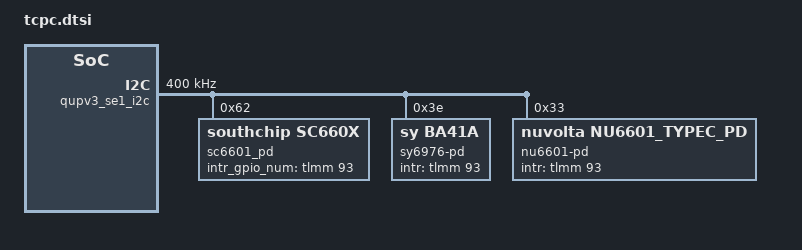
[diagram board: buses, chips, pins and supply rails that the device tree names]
&tlmm {
	/* GPIO_93 : CHG_PD_INT_N */
	rt1711h_int_n: rt1711h_int_n {
		mux {
			pins = "gpio93";
			function = "gpio";
		};
		config {
			pins = "gpio93";
			drive-strength = <2>;
			bias-pull-up;
		};
	};
};

&qupv3_se1_i2c {
	status = "okay";
	clock-frequency = <400000>;

	sc6601_pd: sc6601-pd@62{
		compatible = "southchip,sc660x";
		reg = <0x62>;
		status = "okay";
		sc-tcpc,name = "type_c_port0"; /* tcpc_device's name */
		sc-tcpc,role_def = <5>; /* 0: Unknown, 1: SNK, 2: SRC */
					/* 3: DRP, 4: Try.SRC, 5: Try.SNK */
		sc-tcpc,rp_level = <1>; /* 0: Default, 1: 1.5, 2: 3.0 */
		sc-tcpc,vconn_supply  = <0>;  /* 0: Never, 1: Always, */
					      /* 2: EMarkOnly, 3: StartOnly */
		sc-tcpc,notifier_supply_num = <2>;
		sc660x,intr_gpio_num = <&tlmm 93 0x0>;
		pinctrl-names = "default";
		pinctrl-0 = <&rt1711h_int_n>;
		pd-data {
			pd,vid = <0x311c>;
			pd,pid = <0x6600>;
			pd,source-cap-ext = /bits/ 8 <0x1c 0x31 0x00 0x66
						      0x00 0x00 0x00 0x00
						      0x00 0x00 0x00 0x00
						      0x00 0x00 0x00 0x00
						      0x00 0x00 0x00 0x00
						      0x00 0x00 0x01 0x07
						      0x00>;
			pd,sink-cap-ext = /bits/ 8 <0x1c 0x31 0x00 0x66
							   0x00 0x00 0x00 0x00
							   0x01 0x00 0x00 0x00
							   0x00 0x00 0x00 0x00
							   0x01 0x00 0x00 0x00
							   0x00 0x00 0x00 0x00>;
			pd,mfrs = "SouthChip";

			/*
			 *	VSAFE5V = 0, MAX_POWER = 1, CUSTOM = 2,
			 *	MAX_POWER_LV = 0x21, MAX_POWER_LVIC = 0x31
			 *	MAX_POWER_HV = 0x41, MAX_POWER_HVIC = 0x51
			 */
			pd,charging_policy = <0>;

			/*
			 * Fixed 5V, 500 mA <0x00019032>
			 * Fixed 5V, 1A <0x00019064>
			 * Fixed 5V, 2A <0x000190c8>
			 * Fixed 5V, 3A <0x0001912c>
			 * Fixed 9V, 500 mA <0x0002d032>
			 * Fixed 9V, 1A <0x0002d064>
			 * Fixed 9V, 2A <0x0002d0c8>
			 * Fixed 9V, 3A <0x0002d12c>
			 * Variable 5-9V, 1A <0x8642d064>
			 * Variable 5-9V, 2A <0x8642d0c8>
			 * Variable 5-9V, 3A <0x8642d12c>
			 * PPS 3V~5.9V, 3A <0xC0761E3C>
			 */
			pd,source-pdo-size = <1>;
			/* Fixed 5V,1A */
			pd,source-pdo-data = <0x20019064>;
			pd,source-18w-pdo-size = <2>;
			/* Fixed 5V,1A 9V,1.6A*/
			pd,source-18w-pdo-data = <0x20019064 0x2002d0A0>;

			pd,sink-pdo-size = <3>;
			pd,sink-pdo-data = <0x3601912c 0x0002d0c8 0xC0DC323C>;
			/*0110 1110 0011 0010
			 * No DP, host + device
			 *	pd,id-vdo-size = <6>;
			 *	pd,id-vdo-data = <0xd14029cf 0x0 0x17110000
						  0x61000000 0x0 0x41000000>;
			 * With DP
			 *	pd,id-vdo-size = <6>;
			 *	pd,id-vdo-data = <0xd54029cf 0x0 0x17110000
						  0x61000000 0x0 0x41000000>;
			 */

			pd,id-vdo-size = <6>;
			pd,id-vdo-data = <0xd140311c 0x0 0x66000000
						  0x61000000 0x0 0x41000000>;

			bat,nr = <1>;
			pd,country_nr = <0>;

			bat-info0 {
				bat,vid = <0x311c>;
				bat,pid = <0x6600>;
				bat,mfrs = "bat1";
				bat,design_cap = <3000>;
			};

		};
		dpm_caps {
			local_dr_power;
			local_dr_data;
			//local_ext_power;
			local_usb_comm;
			//local_usb_suspend;
			local_high_cap;
			//local_give_back;
			local_no_suspend;
			local_vconn_supply;

			//attempt_discover_cable_dfp;
			//attempt_enter_dp_mode;
			//attempt_discover_cable;
			attempt_discover_id;
			//attempt_discover_svid;

			/* 0: disable, 1: prefer_snk, 2: prefer_src */
			pr_check = <0>;
			//pr_reject_as_source;
			//pr_reject_as_sink;
			//pr_check_gp_source;
			//pr_check_gp_sink;

			/* 0: disable, 1: prefer_ufp, 2: prefer_dfp */
			dr_check = <0>;
			//dr_reject_as_dfp;
			//dr_reject_as_ufp;
		};
		displayport {
			/* connection type = "both", "ufp_d", "dfp_d" */
			1st_connection = "dfp_d";
			2nd_connection = "dfp_d";
			signal,dp_v13;
			//signal,dp_gen2;
			//usbr20_not_used;
			typec,receptacle;
			ufp_d {
				//pin_assignment,mode_a;
				//pin_assignment,mode_b;
				//pin_assignment,mode_c;
				//pin_assignment,mode_d;
				//pin_assignment,mode_e;
			};
			dfp_d {
				//pin_assignment,mode_a;
				//pin_assignment,mode_b;
				pin_assignment,mode_c;
				pin_assignment,mode_d;
				pin_assignment,mode_e;
				//pin_assignment,mode_f;
			};
		};
	};

	sy6976-pd@3e{
		compatible = "sy,ba41a";
		reg = <0x3e>;
		status = "okay";
		rt-tcpc,name = "type_c_port0"; /* tcpc_device's name */
		rt-tcpc,role_def = <1>; /* 0: Unknown, 1: SNK, 2: SRC */
					/* 3: DRP, 4: Try.SRC, 5: Try.SNK */
		rt-tcpc,rp_level = <1>; /* 0: Default, 1: 1.5, 2: 3.0 */
		rt-tcpc,vconn_supply  = <1>;  /* 0: Never, 1: Always, */
					      /* 2: EMarkOnly, 3: StartOnly */
		rt-tcpc,notifier_supply_num = <2>;
		rt1711pd,intr_gpio = <&tlmm 93 0x0>;
		rt1711pd,intr_gpio_num = <93>;
		pd-data {
			pd,vid = <0x2acd>;
			pd,pid = <0x6976>;
			pd,source-cap-ext = /bits/ 8 <0xcd 0x2a 0x76 0x69
						      0x00 0x00 0x00 0x00
						      0x00 0x00 0x00 0x00
						      0x00 0x00 0x00 0x00
						      0x00 0x00 0x00 0x00
						      0x00 0x00 0x01 0x07
						      0x00>;
			pd,sink-cap-ext = /bits/ 8 <0xcd 0x2a 0x76 0x69
							   0x00 0x00 0x00 0x00
							   0x01 0x00 0x00 0x00
							   0x00 0x00 0x00 0x00
							   0x01 0x00 0x00 0x00
							   0x00 0x00 0x00 0x00>;
			pd,mfrs = "RichtekTCPC";

			/*
			 *	VSAFE5V = 0, MAX_POWER = 1, CUSTOM = 2,
			 *	MAX_POWER_LV = 0x21, MAX_POWER_LVIC = 0x31
			 *	MAX_POWER_HV = 0x41, MAX_POWER_HVIC = 0x51
			 */
			pd,charging_policy= <0x31>;

			/*
			 * Fixed 5V, 500 mA <0x00019032>
			 * Fixed 5V, 1A <0x00019064>
			 * Fixed 5V, 1.5A <0x00019096>
			 * Fixed 5V, 2A <0x000190c8>
			 * Fixed 5V, 3A <0x0001912c>
			 * Fixed 9V, 500 mA <0x0002d032>
			 * Fixed 9V, 1A <0x0002d064>
			 * Fixed 9V, 2A <0x0002d0c8>
			 * Fixed 9V, 3A <0x0002d12c>
			 * Variable 5-9V, 1A <0x8642d064>
			 * Variable 5-9V, 2A <0x8642d0c8>
			 * Variable 5-9V, 3A <0x8642d12c>
			 * PPS 3V~5.9V, 3A <0xC0761E3C>
			 */
			pd,source-pdo-size = <1>;
			pd,source-pdo-data = <0x00019096>;
			pd,source-18w-pdo-size = <2>;
			/* Fixed 5V,1.5A 9V,2A*/
			pd,source-18w-pdo-data = <0x00019096 0x0002d0c8>;
			pd,sink-pdo-size = <2>;
			pd,sink-pdo-data = <0x3601912c 0x3602d0c8>;

			/*
			 * No DP, host + device
			 *	pd,id-vdo-size = <6>;
			 *	pd,id-vdo-data = <0xd14029cf 0x0 0x17110000
						  0x61000000 0x0 0x41000000>;
			 * With DP
			 *	pd,id-vdo-size = <6>;
			 *	pd,id-vdo-data = <0xd54029cf 0x0 0x17110000
						  0x61000000 0x0 0x41000000>;
			 */

			pd,id-vdo-size = <6>;
			pd,id-vdo-data = <0xd14029cf 0x0 0x17110000
						  0x61000000 0x0 0x41000000>;

			bat,nr = <1>;
			pd,country_nr = <0>;

			bat-info0 {
				bat,vid = <0x2acd>;
				bat,pid = <0x6976>;
				bat,mfrs = "bat1";
				bat,design_cap = <3000>;
			};

			//bat-info1 {
			//	bat,vid = <0x8abc>;
			//	bat,pid = <0x5234>;
			//	bat,mfrs = "bat2";
			//	bat,design_cap = <4000>;
			//};

			//country0 {
			//	pd,country_code = <0x5457>;
			//	pd,country_len = <2>; /* max len = 26 */
			//	pd,country_data = <0xff 0xff>;
			//};

			//country1 {
			//	pd,country_code = <0x5553>;
			//	pd,country_len = <3>; /* max len = 26 */
			//	pd,country_data = <0xf1 0xf2 0xf3>;
			//};
		};
		dpm_caps {
			local_dr_power;
			local_dr_data;
			//local_ext_power;
			local_usb_comm;
			//local_usb_suspend;
			//local_high_cap;
			//local_give_back;
			local_no_suspend;
			local_vconn_supply;

			//attempt_discover_cable_dfp;
			attempt_enter_dp_mode;
			attempt_discover_cable;
			attempt_discover_id;

			/* 0: disable, 1: prefer_snk, 2: prefer_src */
			pr_check = <0>;
			//pr_reject_as_source;
			//pr_reject_as_sink;
			//pr_check_gp_source;
			//pr_check_gp_sink;

			/* 0: disable, 1: prefer_ufp, 2: prefer_dfp */
			dr_check = <0>;
			//dr_reject_as_dfp;
			//dr_reject_as_ufp;
		};
		displayport {
			/* connection type = "both", "ufp_d", "dfp_d" */
			1st_connection = "dfp_d";
			2nd_connection = "dfp_d";
			signal,dp_v13;
			//signal,dp_gen2;
			//usbr20_not_used;
			typec,receptacle;
			ufp_d {
				//pin_assignment,mode_a;
				//pin_assignment,mode_b;
				//pin_assignment,mode_c;
				//pin_assignment,mode_d;
				//pin_assignment,mode_e;
			};
			dfp_d {
				//pin_assignment,mode_a;
				//pin_assignment,mode_b;
				pin_assignment,mode_c;
				pin_assignment,mode_d;
				pin_assignment,mode_e;
				//pin_assignment,mode_f;
			};
		};
	};

	nu6601-pd@33{
		compatible = "nuvolta,nu6601_typec_pd";
		reg = <0x33>;
		status = "okay";
		rt-tcpc,name = "type_c_port0"; /* tcpc_device's name */
		rt-tcpc,role_def = <5>; /* 0: Unknown, 1: SNK, 2: SRC */
					/* 3: DRP, 4: Try.SRC, 5: Try.SNK */
		rt-tcpc,rp_level = <1>; /* 0: Default, 1: 1.5, 2: 3.0 */
		rt-tcpc,vconn_supply  = <1>;  /* 0: Never, 1: Always, */
					      /* 2: EMarkOnly, 3: StartOnly */
		rt-tcpc,notifier_supply_num = <2>;
		rt1711pd,intr_gpio = <&tlmm 93 0x0>;
		rt1711pd,intr_gpio_num = <93>;
		pd-data {
			pd,vid = <0x37A0>;
			pd,pid = <0x6601>;
			pd,source-cap-ext = /bits/ 8 <0xcf 0x29 0x11 0x17
						      0x00 0x00 0x00 0x00
						      0x00 0x00 0x00 0x00
						      0x00 0x00 0x00 0x00
						      0x00 0x00 0x00 0x00
						      0x00 0x00 0x01 0x02
						      0x00>;
			pd,mfrs = "NuvlotaTCPC";

			/*
			 *	VSAFE5V = 0, MAX_POWER = 1, CUSTOM = 2,
			 *	MAX_POWER_LV = 0x21, MAX_POWER_LVIC = 0x31
			 *	MAX_POWER_HV = 0x41, MAX_POWER_HVIC = 0x51
			 */
			pd,charging_policy = <0>;
			/*
			 * Fixed 5V, 500 mA <0x00019032>
			 * Fixed 5V, 1A <0x00019064>
			 * Fixed 5V, 2A <0x000190c8>
			 * Fixed 5V, 3A <0x0001912c>
			 * Fixed 9V, 500 mA <0x0002d032>
			 * Fixed 9V, 1A <0x0002d064>
			 * Fixed 9V, 2A <0x0002d0c8>
			 * Fixed 9V, 3A <0x0002d12c>
			 * Variable 5-9V, 1A <0x8642d064>
			 * Variable 5-9V, 2A <0x8642d0c8>
			 * Variable 5-9V, 3A <0x8642d12c>
			 * PPS 3V~5.9V, 3A <0xC0761E3C>
			 */
			pd,source-pdo-size = <1>;
			/* Fixed 5V,1A */
			pd,source-pdo-data = <0x20019064>;
			pd,source-18w-pdo-size = <2>;
			/* Fixed 5V,1A 9V,1.6A*/
			pd,source-18w-pdo-data = <0x20019064 0x2002d0A0>;
			pd,sink-pdo-size = <2>;
			pd,sink-pdo-data = <0x3601912c 0x3602d0c8>;

			/*
			 * No DP, host + device
			 *	pd,id-vdo-size = <6>;
			 *	pd,id-vdo-data = <0xd14029cf 0x0 0x17110000
						  0x61000000 0x0 0x41000000>;
			 * With DP
			 *	pd,id-vdo-size = <6>;
			 *	pd,id-vdo-data = <0xd54029cf 0x0 0x17110000
						  0x61000000 0x0 0x41000000>;
			 */

			pd,id-vdo-size = <4>;
			pd,id-vdo-data = <0x014029cf 0x0 0x17110000
						  0x61000000 0x0 0x41000000>;

			bat,nr = <1>;
			pd,country_nr = <0>;

			bat-info0 {
				bat,vid = <0x37A0>;
				bat,pid = <0x6601>;
				bat,mfrs = "bat1";
				bat,design_cap = <3000>;
			};

			//bat-info1 {
			//	bat,vid = <0x8abc>;
			//	bat,pid = <0x5234>;
			//	bat,mfrs = "bat2";
			//	bat,design_cap = <4000>;
			//};

			//country0 {
			//	pd,country_code = <0x5457>;
			//	pd,country_len = <2>; /* max len = 26 */
			//	pd,country_data = <0xff 0xff>;
			//};

			//country1 {
			//	pd,country_code = <0x5553>;
			//	pd,country_len = <3>; /* max len = 26 */
			//	pd,country_data = <0xf1 0xf2 0xf3>;
			//};
		};
		dpm_caps {
			local_dr_power;
			local_dr_data;
			//local_ext_power;
			local_usb_comm;
			//local_usb_suspend;
			//local_high_cap;
			//local_give_back;
			local_no_suspend;
			local_vconn_supply;

			//attempt_discover_cable_dfp;
			//attempt_enter_dp_mode;
			//attempt_discover_cable;
			attempt_discover_id;

			/* 0: disable, 1: prefer_snk, 2: prefer_src */
			pr_check = <0>;
			//pr_reject_as_source;
			//pr_reject_as_sink;
			//pr_check_gp_source;
			//pr_check_gp_sink;

			/* 0: disable, 1: prefer_ufp, 2: prefer_dfp */
			dr_check = <0>;
			//dr_reject_as_dfp;
			//dr_reject_as_ufp;
		};
		displayport {
			/* connection type = "both", "ufp_d", "dfp_d" */
			1st_connection = "dfp_d";
			2nd_connection = "dfp_d";
			signal,dp_v13;
			//signal,dp_gen2;
			//usbr20_not_used;
			typec,receptacle;
			ufp_d {
				//pin_assignment,mode_a;
				//pin_assignment,mode_b;
				//pin_assignment,mode_c;
				//pin_assignment,mode_d;
				//pin_assignment,mode_e;
			};
			dfp_d {
				//pin_assignment,mode_a;
				//pin_assignment,mode_b;
				pin_assignment,mode_c;
				pin_assignment,mode_d;
				pin_assignment,mode_e;
				//pin_assignment,mode_f;
			};
		};
	};
};
